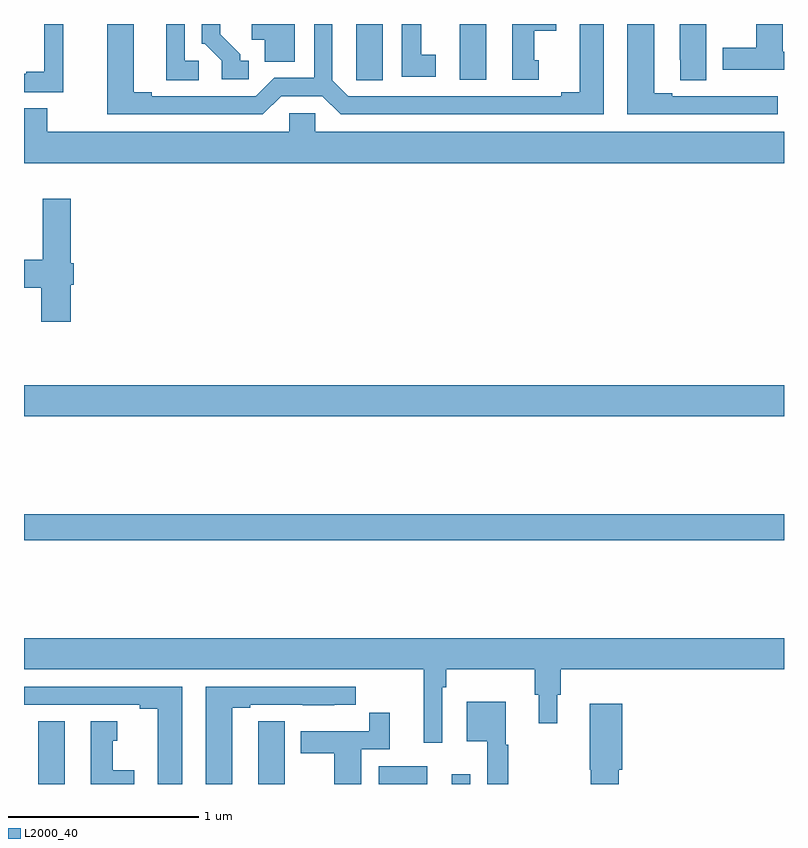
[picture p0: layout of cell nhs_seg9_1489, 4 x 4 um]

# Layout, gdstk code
import gdstk
lib = gdstk.Library(unit=1e-6, precision=1e-09)
def R(c, l, rs):  # rectangles x0, y0, x1, y1
    for r in rs: c.add(gdstk.rectangle(r[:2], r[2:], *l))
def P(c, l, *ps):  # polygons
    for p in ps: c.add(gdstk.Polygon(p, *l))
L2000_40 = (2000, 40)

nhs_seg9_1489 = lib.new_cell('nhs_seg9_1489')
R(nhs_seg9_1489, L2000_40, [(195.074,1178.5,195.214,1178.83), (196.868,1178.5,197.122,1178.593), (197.252,1178.5,197.349,1178.551), (195,1179.784,199,1179.92), (195,1180.436,199,1180.6), (197.294,1182.207,197.434,1182.5)])
P(nhs_seg9_1489, L2000_40, [(197.71,1182.309),(197.686,1182.309),(197.686,1182.464),(197.8,1182.464),(197.8,1182.5),(197.57,1182.5),(197.57,1182.207),(197.71,1182.207)],
  [(196.353,1182.12),(196.571,1182.12),(196.667,1182.024),(198.052,1182.024),(198.052,1182.5),(197.924,1182.5),(197.924,1182.14),(197.828,1182.14),(197.828,1182.12),(196.707,1182.12),(196.623,1182.204),(196.623,1182.5),(196.527,1182.5),(196.527,1182.216),(196.317,1182.216),(196.221,1182.12),(195.673,1182.12),(195.673,1182.14),(195.577,1182.14),(195.577,1182.5),(195.437,1182.5),(195.437,1182.024),(196.257,1182.024)],
  [(198.592,1182.5),(198.452,1182.5),(198.452,1182.313),(198.453,1182.313),(198.453,1182.205),(198.592,1182.205)],
  [(197.167,1182.338),(197.092,1182.338),(197.092,1182.5),(196.988,1182.5),(196.988,1182.222),(197.167,1182.222)],
  [(196.183,1182.306),(196.138,1182.306),(196.138,1182.341),(196.033,1182.446),(196.033,1182.5),(195.936,1182.5),(195.936,1182.396),(195.951,1182.396),(196.041,1182.306),(196.041,1182.21),(196.183,1182.21)],
  [(196.426,1182.5),(196.199,1182.5),(196.199,1182.416),(196.268,1182.416),(196.268,1182.301),(196.426,1182.301)],
  [(195.919,1182.306),(195.846,1182.306),(195.846,1182.5),(195.749,1182.5),(195.749,1182.205),(195.919,1182.205)],
  [(195.207,1182.5),(195.107,1182.5),(195.107,1182.25),(195.011,1182.25),(195.011,1182.237),(195,1182.237),(195,1182.141),(195.207,1182.141)],
  [(199,1182.354),(198.994,1182.354),(198.994,1182.5),(198.854,1182.5),(198.854,1182.375),(198.677,1182.375),(198.677,1182.258),(199,1182.258)],
  [(198.967,1182.12),(198.854,1182.12),(198.854,1182.121),(198.688,1182.121),(198.688,1182.12),(198.412,1182.12),(198.412,1182.135),(198.316,1182.135),(198.316,1182.5),(198.176,1182.5),(198.176,1182.024),(198.967,1182.024)],
  [(196.888,1182.5),(196.748,1182.5),(196.748,1182.313),(196.749,1182.313),(196.749,1182.205),(196.888,1182.205)],
  [(199,1181.932),(196.533,1181.932),(196.533,1182.03),(196.395,1182.03),(196.395,1181.932),(195.123,1181.932),(195.123,1182.056),(195,1182.056),(195,1181.768),(199,1181.768)],
  [(195.245,1181.127),(195.263,1181.127),(195.263,1181.241),(195.245,1181.241),(195.245,1181.581),(195.098,1181.581),(195.098,1181.258),(195,1181.258),(195,1181.111),(195.091,1181.111),(195.091,1180.932),(195.245,1180.932)],
  [(197.202,1179.008),(197.222,1179.008),(197.222,1179.104),(197.689,1179.104),(197.689,1178.97),(197.708,1178.97),(197.708,1178.82),(197.806,1178.82),(197.806,1178.97),(197.825,1178.97),(197.825,1179.104),(199,1179.104),(199,1179.268),(195,1179.268),(195,1179.104),(197.105,1179.104),(197.105,1178.718),(197.202,1178.718)],
  [(196.096,1178.901),(196.192,1178.901),(196.192,1178.916),(196.468,1178.916),(196.468,1178.915),(196.634,1178.915),(196.634,1178.916),(196.747,1178.916),(196.747,1179.012),(195.956,1179.012),(195.956,1178.5),(196.096,1178.5)],
  [(195.832,1179.012),(195,1179.012),(195,1178.916),(195.608,1178.916),(195.608,1178.896),(195.704,1178.896),(195.704,1178.5),(195.832,1178.5)],
  [(197.548,1178.706),(197.536,1178.706),(197.536,1178.932),(197.33,1178.932),(197.33,1178.726),(197.439,1178.726),(197.439,1178.5),(197.548,1178.5)],
  [(198.131,1178.574),(198.149,1178.574),(198.149,1178.923),(197.978,1178.923),(197.978,1178.574),(197.984,1178.574),(197.984,1178.5),(198.131,1178.5)],
  [(196.774,1178.682),(196.925,1178.682),(196.925,1178.875),(196.816,1178.875),(196.816,1178.778),(196.457,1178.778),(196.457,1178.662),(196.634,1178.662),(196.634,1178.5),(196.774,1178.5)],
  [(196.372,1178.831),(196.233,1178.831),(196.233,1178.723),(196.232,1178.723),(196.232,1178.5),(196.372,1178.5)],
  [(195.58,1178.572),(195.466,1178.572),(195.466,1178.727),(195.49,1178.727),(195.49,1178.83),(195.35,1178.83),(195.35,1178.5),(195.58,1178.5)])

lib.write_gds('nhs_seg9_1489.gds')
